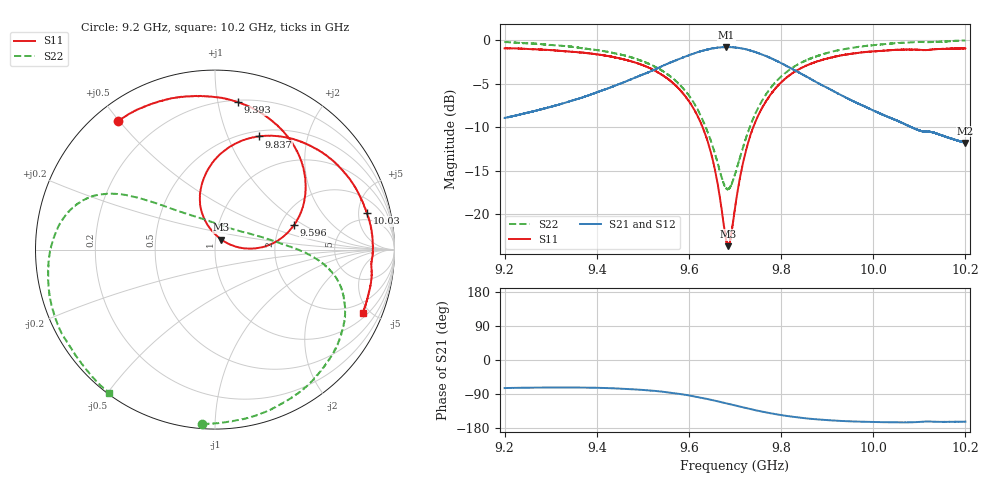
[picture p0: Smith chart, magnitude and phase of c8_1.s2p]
!Agilent Technologies,N5242A,MY51221714,A.09.90.19
!Agilent N5242A: A.09.90.19
!Date: Saturday, March 16, 2024 10:06:44
!Correction: S11(Full 2 Port(1,2))
!S21(Full 2 Port(1,2))
!S12(Full 2 Port(1,2))
!S22(Full 2 Port(1,2))
!S2P File: Measurements: S11, S21, S12, S22:
# Hz S  dB  R 50
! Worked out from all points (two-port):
!   16001 points, 9.2 GHz to 10.2 GHz, reference 50 ohm
!   highest |S21| = -0.81 dB at 9.681 GHz (marker M1); lowest = -11.8 dB at 10.2 GHz (marker M2)
!   |S21| within 3 dB of the highest: 9.507 GHz to 9.841 GHz (334.4 MHz wide, 3.46 % of centre); 9.841564 GHz to 9.841638 GHz (74.86 kHz wide, 0.000761 % of centre)
!   lowest |S11| = -23.6 dB at 9.686 GHz (marker M3), VSWR 1.14, Z = 53.3 + j5.96 ohm
!   |S11| at or under -10 dB: 9.63 GHz to 9.74 GHz (110 MHz wide, 1.14 % of centre)
!   |S22| runs from -17.1 to -0.1 dB; largest |S21 - S12| = 0.011
!   S11 on the Smith chart (normalised r, x): 9.2 GHz: 0.07, +0.50; 9.393 GHz: 0.22, +1.14; 9.596 GHz: 2.37, +0.82; 9.837 GHz: 0.56, +1.30; 10.03 GHz: 3.69, +6.29; 10.2 GHz: 1.29, -4.53
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9.2e9  -0.96 127.0  -8.95 -74.1  -8.93 -74.6  -0.23 -94.1
9.277688e9  -1.10 109.4  -7.98 -72.8  -7.96 -73.3  -0.48 -72.8
9.366688e9  -1.45 88.2  -6.63 -72.8  -6.60 -73.3  -0.93 -49.5
9.393438e9  -1.61 81.3  -6.13 -73.2  -6.12 -73.8  -1.11 -42.6
9.463812e9  -2.30 61.7  -4.75 -76.2  -4.73 -76.7  -1.83 -26.5
9.533375e9  -3.74 39.8  -3.21 -82.4  -3.20 -82.9  -3.27 -12.7
9.596062e9  -6.74 17.2  -1.84 -92.7  -1.82 -93.1  -6.08 -1.7
9.645375e9  -12.46 2.0  -1.04 -104.3  -1.04 -104.8  -11.25 14.5
9.661562e9  -16.26 3.1  -0.89 -108.8  -0.89 -109.3  -13.97 27.6
9.680875e9  -22.94 36.2  -0.81 -114.3  -0.81 -114.8  -17.02 63.2
9.685812e9  -23.64 57.9  -0.82 -115.8  -0.80 -116.3  -17.09 75.5
9.7e9  -19.32 99.9  -0.85 -120.0  -0.84 -120.5  -15.42 106.0
9.7215e9  -13.16 109.5  -1.05 -126.3  -1.03 -126.8  -11.60 129.6
9.748812e9  -8.84 102.1  -1.47 -133.7  -1.47 -134.3  -7.93 141.0
9.795688e9  -5.09 84.4  -2.54 -144.5  -2.54 -145.1  -4.42 149.2
9.837375e9  -3.40 68.8  -3.69 -151.6  -3.70 -152.1  -2.78 155.4
9.866688e9  -2.69 58.8  -4.56 -155.5  -4.55 -155.9  -2.08 159.7
9.947375e9  -1.63 34.6  -6.78 -161.7  -6.78 -162.1  -0.95 174.5
1.002944e10  -1.19 13.6  -8.76 -164.1  -8.75 -164.8  -0.45 -167.8
1.003338e10  -1.20 12.6  -8.85 -164.2  -8.85 -164.7  -0.43 -166.8
1.010406e10  -1.14 -3.7  -10.43 -162.9  -10.44 -163.5  -0.24 -150.6
1.02e10  -0.97 -23.1  -11.81 -162.6  -11.79 -163.3  -0.06 -126.4
